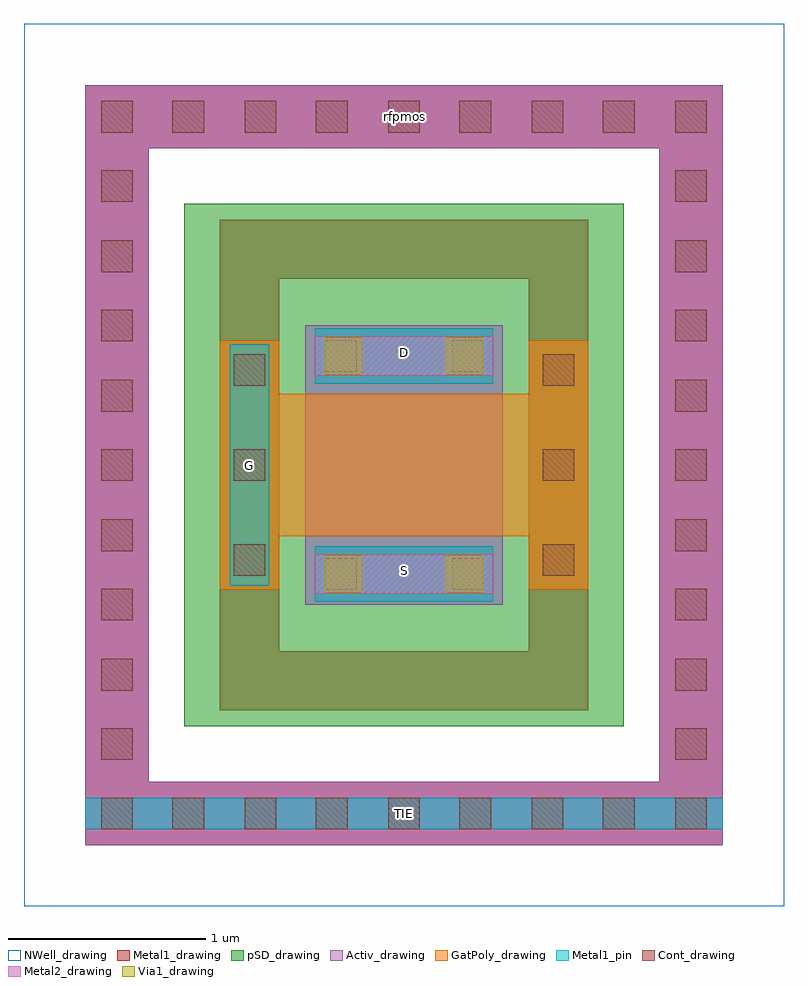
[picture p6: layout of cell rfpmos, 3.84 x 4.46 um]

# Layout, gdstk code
import gdstk
lib = gdstk.Library(unit=1e-6, precision=1e-09)
def R(c, l, rs):  # rectangles x0, y0, x1, y1
    for r in rs: c.add(gdstk.rectangle(r[:2], r[2:], *l))
def A(c, l, x, y, w, h, nx, ny, dx, dy):  # array of equal rectangles
    R(c, l, [(x+i*dx, y+j*dy, x+i*dx+w, y+j*dy+h) for i in range(nx) for j in range(ny)])
def P(c, l, *ps):  # polygons
    for p in ps: c.add(gdstk.Polygon(p, *l))
Activ_drawing = (1, 0)
GatPoly_drawing = (5, 0)
Cont_drawing = (6, 0)
Metal1_drawing = (8, 0)
Metal1_pin = (8, 2)
Metal2_drawing = (10, 0)
pSD_drawing = (14, 0)
Via1_drawing = (19, 0)
NWell_drawing = (31, 0)

rfpmos = lib.new_cell('rfpmos')
R(rfpmos, Activ_drawing, [(1.42,1.525,2.42,2.935)])
P(rfpmos, Activ_drawing, [(0.31,0.31),(0.31,4.15),(3.21,4.15),(3.21,3.83),(0.63,3.83),(0.63,0.63),(3.21,0.63),(3.21,4.15),(3.53,4.15),(3.53,0.31)])
P(rfpmos, GatPoly_drawing, [(0.99,1.6),(0.99,2.86),(1.29,2.86),(1.29,2.59),(2.55,2.59),(2.55,2.86),(2.85,2.86),(2.85,1.6),(2.55,1.6),(2.55,1.87),(1.29,1.87),(1.29,1.6)])
A(rfpmos, Cont_drawing, 0.39, 0.39, 0.16, 0.16, 1, 3, 0, 0.35)
A(rfpmos, Cont_drawing, 3.29, 0.39, 0.16, 0.16, 1, 3, 0, 0.35)
A(rfpmos, Cont_drawing, 1.06, 1.67, 0.16, 0.16, 1, 3, 0, 0.48)
A(rfpmos, Cont_drawing, 2.62, 1.67, 0.16, 0.16, 1, 3, 0, 0.48)
R(rfpmos, Cont_drawing, [(0.75,0.39,0.91,0.55), (1.115,0.39,1.275,0.55), (1.475,0.39,1.635,0.55), (1.84,0.39,2,0.55), (2.2,0.39,2.36,0.55), (2.565,0.39,2.725,0.55), (2.925,0.39,3.085,0.55), (0.39,1.445,0.55,1.605), (3.29,1.445,3.45,1.605), (1.52,1.6,1.68,1.76), (2.16,1.6,2.32,1.76), (0.39,1.795,0.55,1.955), (3.29,1.795,3.45,1.955), (0.39,2.15,0.55,2.31), (3.29,2.15,3.45,2.31), (0.39,2.5,0.55,2.66), (3.29,2.5,3.45,2.66), (1.52,2.7,1.68,2.86), (2.16,2.7,2.32,2.86), (0.39,2.855,0.55,3.015), (3.29,2.855,3.45,3.015), (0.39,3.205,0.55,3.365), (3.29,3.205,3.45,3.365), (0.39,3.56,0.55,3.72), (3.29,3.56,3.45,3.72), (0.39,3.91,0.55,4.07), (0.75,3.91,0.91,4.07), (1.115,3.91,1.275,4.07), (1.475,3.91,1.635,4.07), (1.84,3.91,2,4.07), (2.2,3.91,2.36,4.07), (2.565,3.91,2.725,4.07), (2.925,3.91,3.085,4.07), (3.29,3.91,3.45,4.07)])
R(rfpmos, Metal1_drawing, [(1.47,1.54,2.37,1.82), (1.04,1.62,1.24,2.84), (2.6,1.62,2.8,2.84), (1.47,2.64,2.37,2.92)])
P(rfpmos, Metal1_drawing, [(0.31,0.31),(0.31,4.15),(3.21,4.15),(3.21,3.83),(0.63,3.83),(0.63,0.63),(3.21,0.63),(3.21,4.15),(3.53,4.15),(3.53,0.31)],
  [(0.99,0.99),(0.99,3.47),(2.55,3.47),(2.55,3.17),(1.29,3.17),(1.29,1.29),(2.55,1.29),(2.55,3.47),(2.85,3.47),(2.85,0.99)])
R(rfpmos, Metal1_pin, [(0.31,0.39,3.53,0.55), (1.47,1.54,2.37,1.82), (1.04,1.62,1.24,2.84), (1.47,2.64,2.37,2.92)])
R(rfpmos, Metal2_drawing, [(1.47,1.58,2.37,1.78), (1.47,2.68,2.37,2.88)])
R(rfpmos, pSD_drawing, [(0.81,0.91,3.03,3.55)])
R(rfpmos, Via1_drawing, [(1.52,1.585,1.71,1.775), (2.13,1.585,2.32,1.775), (1.52,2.685,1.71,2.875), (2.13,2.685,2.32,2.875)])
R(rfpmos, NWell_drawing, [(0,0,3.84,4.46)])
rfpmos.add(gdstk.Label('TIE', (1.92,0.47), layer=63, texttype=0))
rfpmos.add(gdstk.Label('rfpmos', (1.92,3.99), layer=63, texttype=0))
rfpmos.add(gdstk.Label('G', (1.14,2.23), layer=63, texttype=0))
rfpmos.add(gdstk.Label('D', (1.92,2.798), layer=63, texttype=0))
rfpmos.add(gdstk.Label('S', (1.92,1.698), layer=63, texttype=0))

lib.write_gds('rfpmos.gds')
